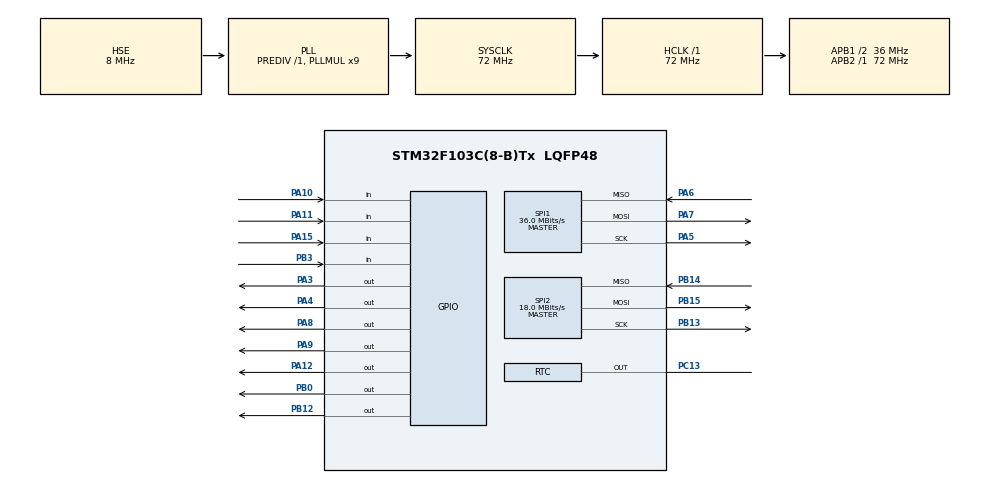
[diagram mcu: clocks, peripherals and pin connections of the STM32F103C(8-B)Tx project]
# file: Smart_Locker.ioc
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Mcu.Family=STM32F1
Mcu.Name=STM32F103C(8-B)Tx
Mcu.Package=LQFP48
NVIC.PriorityGroup=NVIC_PRIORITYGROUP_4
PA10.Signal=GPIO_Input
PA11.Signal=GPIO_Input
PA12.Signal=GPIO_Output
PA13.Mode=Serial_Wire
PA13.Signal=SYS_JTMS-SWDIO
PA14.Mode=Serial_Wire
PA14.Signal=SYS_JTCK-SWCLK
PA15.Signal=GPIO_Input
PA3.Signal=GPIO_Output
PA4.Signal=GPIO_Output
PA5.Mode=Full_Duplex_Master
PA5.Signal=SPI1_SCK
PA6.Mode=Full_Duplex_Master
PA6.Signal=SPI1_MISO
PA7.Mode=Full_Duplex_Master
PA7.Signal=SPI1_MOSI
PA8.Signal=GPIO_Output
PA9.Signal=GPIO_Output
PB0.Signal=GPIO_Output
PB12.Signal=GPIO_Output
PB13.Mode=Full_Duplex_Master
PB13.Signal=SPI2_SCK
PB14.Mode=Full_Duplex_Master
PB14.Signal=SPI2_MISO
PB15.Mode=Full_Duplex_Master
PB15.Signal=SPI2_MOSI
PB3.Signal=GPIO_Input
PC13-TAMPER-RTC.Mode=RTC OUT
PC13-TAMPER-RTC.Signal=RTC_OUT
PC14-OSC32_IN.Mode=LSE-External-Oscillator
PC14-OSC32_IN.Signal=RCC_OSC32_IN
PC15-OSC32_OUT.Mode=LSE-External-Oscillator
PC15-OSC32_OUT.Signal=RCC_OSC32_OUT
PD0-OSC_IN.Mode=HSE-External-Oscillator
PD0-OSC_IN.Signal=RCC_OSC_IN
PD1-OSC_OUT.Mode=HSE-External-Oscillator
PD1-OSC_OUT.Signal=RCC_OSC_OUT
ProjectManager.HeapSize=0x200
ProjectManager.StackSize=0x400
ProjectManager.TargetToolchain=MDK-ARM V5
RCC.AHBFreq_Value=72000000
RCC.APB1CLKDivider=RCC_HCLK_DIV2
RCC.APB1Freq_Value=36000000
RCC.APB1TimFreq_Value=72000000
RCC.APB2Freq_Value=72000000
RCC.APB2TimFreq_Value=72000000
RCC.HCLKFreq_Value=72000000
RCC.PLLMUL=RCC_PLL_MUL9
RCC.PLLSourceVirtual=RCC_PLLSOURCE_HSE
RCC.SYSCLKFreq_VALUE=72000000
RCC.SYSCLKSource=RCC_SYSCLKSOURCE_PLLCLK
RCC.USBFreq_Value=72000000
RTC.Date=13
RTC.Hours=8
RTC.Minutes=30
RTC.Month=RTC_MONTH_AUGUST
RTC.Year=26
SPI1.BaudRatePrescaler=SPI_BAUDRATEPRESCALER_2
SPI1.CalculateBaudRate=36.0 MBits/s
SPI1.Direction=SPI_DIRECTION_2LINES
SPI1.Mode=SPI_MODE_MASTER
SPI1.VirtualType=VM_MASTER
SPI2.BaudRatePrescaler=SPI_BAUDRATEPRESCALER_2
SPI2.CalculateBaudRate=18.0 MBits/s
SPI2.Direction=SPI_DIRECTION_2LINES
SPI2.Mode=SPI_MODE_MASTER
SPI2.VirtualType=VM_MASTER
VP_RTC_VS_RTC_Activate.Mode=RTC_Enabled
VP_RTC_VS_RTC_Calendar.Mode=RTC_Calendar
board=custom

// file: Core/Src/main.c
/* USER CODE BEGIN Header */
/**
  ******************************************************************************
  * @file           : main.c
  * @brief          : Main program body
  ******************************************************************************
  * @attention
  *
  * Copyright (c) 2026 STMicroelectronics.
  * All rights reserved.
  *
  * This software is licensed under terms that can be found in the LICENSE file
  * in the root directory of this software component.
  * If no LICENSE file comes with this software, it is provided AS-IS.
  *
  ******************************************************************************
  */
/* USER CODE END Header */
#include "main.h"

/* USER CODE BEGIN Includes */
#include "st7789.h"
#include "rc522.h"
#include "string.h"
#include "stdio.h"
/* USER CODE END Includes */

/* USER CODE BEGIN PTD */
typedef struct
{
	uint8_t uid[4];
	char name[30];
	char ID[10];
}Card;

Card list_user[] = {
	{{0x1A,0x01,0x02,0x02}, "Nguyen Minh", "NV01" }, {{0x07,0xF6,0x29,0x07}, "Nguyen Hoc", "NV02"}
};
/* USER CODE END PTD */

/* USER CODE BEGIN PD */
#define ST7789_RST_PORT 		GPIOB
#define ST7789_RST_PIN  		GPIO_PIN_1
#define ST7789_DC_PORT  		GPIOB
#define ST7789_DC_PIN   		GPIO_PIN_0

#define ST7789_CS_PORT  		GPIOA
#define ST7789_CS_PIN   		GPIO_PIN_4
#define FONT_MENU						Font_16x26
#define LETTER_MENU					YELLOW
#define BACKGROUND_MENU			BLACK
#define FORMAT_RTC					RTC_FORMAT_BIN
#define FONT_RTC						Font_11x18
#define LINE_COLOR					WHITE
#define BUTTON_UP_PORT			GPIOA
#define BUTTON_UP_PIN				GPIO_PIN_11
#define BUTTON_DOWN_PORT		GPIOA
#define BUTTON_DOWN_PIN			GPIO_PIN_10
#define BUTTON_SELECT_PORT	GPIOA
#define BUTTON_SELECT_PIN		GPIO_PIN_15
#define SELECT_COLOR				GREEN
#define LED_PORT						GPIOA
#define LED_PIN							GPIO_PIN_12
#define BUTTON_BACK_PORT		GPIOB
#define BUTTON_BACK_PIN			GPIO_PIN_3

/* USER CODE END PD */

RTC_HandleTypeDef hrtc;

SPI_HandleTypeDef hspi1;
SPI_HandleTypeDef hspi2;

/* USER CODE BEGIN PV */
uint8_t uid[4];
uint8_t card = 0;
uint8_t select_closet = 0;
uint8_t in_main_case = 1;
uint8_t in_waiting_case = 0;
uint8_t in_confirm_case = 0;
uint8_t in_locker_case = 0;
uint8_t in_return_case = 0;
uint8_t select_confirm = 0;
uint8_t select_choose = 0;
uint8_t select_yn     = 0;
/* USER CODE END PV */

void SystemClock_Config(void);
static void MX_GPIO_Init(void);
static void MX_RTC_Init(void);
static void MX_SPI1_Init(void);
static void MX_SPI2_Init(void);

/* USER CODE BEGIN 0 */
uint8_t Button_Up()
{
	return HAL_GPIO_ReadPin(BUTTON_UP_PORT, BUTTON_UP_PIN) == GPIO_PIN_RESET;
}
uint8_t Button_Down()
{
	return HAL_GPIO_ReadPin(BUTTON_DOWN_PORT, BUTTON_DOWN_PIN) == GPIO_PIN_RESET;
}
uint8_t Button_Select()
{
	return HAL_GPIO_ReadPin(BUTTON_SELECT_PORT, BUTTON_SELECT_PIN) == GPIO_PIN_RESET;
}
uint8_t Button_Back()
{
	return HAL_GPIO_ReadPin(BUTTON_BACK_PORT, BUTTON_BACK_PIN) == GPIO_PIN_RESET;
}
void Led_On_Off(uint8_t state)
{
	if(state)
	{
		HAL_GPIO_WritePin(LED_PORT, LED_PIN, GPIO_PIN_RESET);
	}
	else
	{
		HAL_GPIO_WritePin(LED_PORT, LED_PIN, GPIO_PIN_SET);
	}
}

void Select_Closet()
{
	if(select_closet == 0)
	{
		ST7789_WriteString(10, 70, "[1]", FONT_RTC, SELECT_COLOR, BACKGROUND_MENU);
		ST7789_WriteString(10, 90, "Empty", FONT_RTC, SELECT_COLOR, BACKGROUND_MENU);
	}
	else if(select_closet == 1)
	{
		ST7789_WriteString(120, 70, "[2]", FONT_RTC, SELECT_COLOR, BACKGROUND_MENU);
		ST7789_WriteString(120, 90, "Empty", FONT_RTC, SELECT_COLOR, BACKGROUND_MENU);
	}
	else if(select_closet == 2)
	{
		ST7789_WriteString(230, 70, "[3]", FONT_RTC, SELECT_COLOR, BACKGROUND_MENU);
		ST7789_WriteString(230, 90, "Empty", FONT_RTC, SELECT_COLOR, BACKGROUND_MENU);
	}
	else if(select_closet == 3)
	{
		ST7789_WriteString(10, 120, "[4]", FONT_RTC, SELECT_COLOR, BACKGROUND_MENU);
		ST7789_WriteString(10, 140, "Empty", FONT_RTC, SELECT_COLOR, BACKGROUND_MENU);
	}
	else if(select_closet == 4)
	{
		ST7789_WriteString(120, 120, "[5]", FONT_RTC, SELECT_COLOR, BACKGROUND_MENU);
		ST7789_WriteString(120, 140, "Used", FONT_RTC, SELECT_COLOR, BACKGROUND_MENU);
	}
	else
	{
		ST7789_WriteString(230, 120, "[6]", FONT_RTC, SELECT_COLOR, BACKGROUND_MENU);
		ST7789_WriteString(230, 140, "Empty", FONT_RTC, SELECT_COLOR, BACKGROUND_MENU);
	}
}
void Deselect_Closet(uint8_t choose_closet)
{
	switch(choose_closet)
	{
		case 1:
			ST7789_WriteString(10, 70, "[1]", FONT_RTC, LETTER_MENU, BACKGROUND_MENU);
			ST7789_WriteString(10, 90, "Empty", FONT_RTC, LETTER_MENU, BACKGROUND_MENU);
			break;
		case 2:
			ST7789_WriteString(120, 70, "[2]", FONT_RTC, LETTER_MENU, BACKGROUND_MENU);
			ST7789_WriteString(120, 90, "Empty", FONT_RTC, LETTER_MENU, BACKGROUND_MENU);
			break;
		case 3:
			ST7789_WriteString(230, 70, "[3]", FONT_RTC, LETTER_MENU, BACKGROUND_MENU);
			ST7789_WriteString(230, 90, "Empty", FONT_RTC, LETTER_MENU, BACKGROUND_MENU);
			break;
		case 4:
			ST7789_WriteString(10, 120, "[4]", FONT_RTC, LETTER_MENU, BACKGROUND_MENU);
			ST7789_WriteString(10, 140, "Empty", FONT_RTC, LETTER_MENU, BACKGROUND_MENU);
			break;
		case 5:
			ST7789_WriteString(120, 120, "[5]", FONT_RTC, LETTER_MENU, BACKGROUND_MENU);
			ST7789_WriteString(120, 140, "Used", FONT_RTC, LETTER_MENU, BACKGROUND_MENU);
			break;
		case 6:
			ST7789_WriteString(230, 120, "[6]", FONT_RTC, LETTER_MENU, BACKGROUND_MENU);
			ST7789_WriteString(230, 140, "Empty", FONT_RTC, LETTER_MENU, BACKGROUND_MENU);
			break;
	}
}
void Move_To_Confirm()
{
	if(Button_Down())
	{
		Deselect_Closet(select_closet + 1);
		if(select_closet < 5)
		{
			select_closet++;
		}
		Select_Closet();
		HAL_Delay(100);
	}
	if(Button_Up())
	{
		Deselect_Closet(select_closet + 1);
		if(select_closet > 0)
		{
			select_closet--;
		}
		Select_Closet();
		HAL_Delay(100);
	}
}

int8_t Find_Uid(uint8_t *uid)
{
	for(int i = 0; i < 2; i++)
	{
		if(list_user[i].uid[0] == uid[0] && list_user[i].uid[1] == uid[1] && list_user[i].uid[2] == uid[2] && list_user[i].uid[3] == uid[3])
		{
			return i;
		}
	}
	return -1;
}

uint8_t Read_Card()
{
	if(MFRC522_Request(PICC_REQIDL, uid) == MI_OK)
	{
		if(MFRC522_Anticoll(uid) == MI_OK)
		{
			return 1;
		}
	}
	return 0;
}

void Start_Menu_Page()
{
	ST7789_WriteString(60, 10, "SMART LOCKER", FONT_MENU, LETTER_MENU, BACKGROUND_MENU);
	ST7789_WriteString(40, 60, "RFID LOCK SYSTEM", FONT_MENU, LETTER_MENU, BACKGROUND_MENU);
	ST7789_WriteString(60, 110, "SYSTEM READY", FONT_MENU, LETTER_MENU, BACKGROUND_MENU);
	HAL_Delay(2000);
	ST7789_Fill_Color(BLACK);
	in_main_case = 1;
	in_waiting_case = 0;
	in_confirm_case = 0;
}
void Main_Menu_Page()
{
	ST7789_WriteString(60, 10, "SMART LOCKER", FONT_MENU, LETTER_MENU, BACKGROUND_MENU);
	RTC_TimeTypeDef time;
	RTC_DateTypeDef date;

	char time_save[15];
	char date_save[15];

	HAL_RTC_GetTime(&hrtc, &time, FORMAT_RTC);
	HAL_RTC_GetDate(&hrtc, &date, FORMAT_RTC);

	sprintf(time_save, "%02d:%02d:%02d", time.Hours, time.Minutes, time.Seconds);
	sprintf(date_save, "%02d/%02d/20%02d", date.Date, date.Month, date.Year);

	ST7789_WriteString(10, 35, time_save, FONT_RTC, LETTER_MENU, BACKGROUND_MENU);
	ST7789_WriteString(200, 35, date_save, FONT_RTC, LETTER_MENU, BACKGROUND_MENU);

	ST7789_DrawLine(10, 60, 300, 60, LINE_COLOR);

	ST7789_WriteString(10, 70, "[1]", FONT_RTC, LETTER_MENU, BACKGROUND_MENU);
	ST7789_WriteString(10, 90, "Empty", FONT_RTC, LETTER_MENU, BACKGROUND_MENU);

	ST7789_WriteString(120, 70, "[2]", FONT_RTC, LETTER_MENU, BACKGROUND_MENU);
	ST7789_WriteString(120, 90, "Empty", FONT_RTC, LETTER_MENU, BACKGROUND_MENU);

	ST7789_WriteString(230, 70, "[3]", FONT_RTC, LETTER_MENU, BACKGROUND_MENU);
	ST7789_WriteString(230, 90, "Empty", FONT_RTC, LETTER_MENU, BACKGROUND_MENU);

	ST7789_WriteString(10, 120, "[4]", FONT_RTC, LETTER_MENU, BACKGROUND_MENU);
	ST7789_WriteString(10, 140, "Empty", FONT_RTC, LETTER_MENU, BACKGROUND_MENU);

	ST7789_WriteString(120, 120, "[5]", FONT_RTC, LETTER_MENU, BACKGROUND_MENU);
	ST7789_WriteString(120, 140, "Used", FONT_RTC, LETTER_MENU, BACKGROUND_MENU);

	ST7789_WriteString(230, 120, "[6]", FONT_RTC, LETTER_MENU, BACKGROUND_MENU);
	ST7789_WriteString(230, 140, "Empty", FONT_RTC, LETTER_MENU, BACKGROUND_MENU);
}

void Closet_Confirm(uint8_t locker_ps, uint8_t card)
{
	char name_save[20];
	char locker_save[10];

	sprintf(name_save, "%s", list_user[card].name);
	sprintf(locker_save, "LOCKER:%02d", locker_ps);

	ST7789_WriteString(30, 10, locker_save, FONT_MENU, LETTER_MENU, BACKGROUND_MENU);
	ST7789_DrawLine(10, 30, 300, 30, LINE_COLOR);
	ST7789_WriteString(10, 40, "Status: Empty", FONT_RTC, LETTER_MENU, BACKGROUND_MENU);
	ST7789_WriteString(10, 60, "Name: ", FONT_RTC, LETTER_MENU, BACKGROUND_MENU);
	ST7789_WriteString(10, 80, name_save, FONT_RTC, LETTER_MENU, BACKGROUND_MENU);
	ST7789_WriteString(100, 100, "Confirm ?", FONT_RTC, LETTER_MENU, BACKGROUND_MENU);
	ST7789_WriteString(20, 125, "[ YES ]", FONT_RTC, LETTER_MENU, BACKGROUND_MENU);
	ST7789_WriteString(220, 125, "[ NO ]", FONT_RTC, LETTER_MENU, BACKGROUND_MENU);
}
void Select_Yes_Or_No(void)
{
	if(select_confirm == 0)
	{
		ST7789_WriteString(20, 125, "[ YES ]", FONT_RTC, SELECT_COLOR, BACKGROUND_MENU);
	}
	else
	{
		ST7789_WriteString(220, 125, "[ NO ]", FONT_RTC, SELECT_COLOR, BACKGROUND_MENU);
	}
}
void Deselect_Yes_No(uint8_t confirm)
{
	switch(confirm)
	{
		case 1:
			ST7789_WriteString(20, 125, "[ YES ]", FONT_RTC, LETTER_MENU, BACKGROUND_MENU);
			break;
		case 2:
			ST7789_WriteString(220, 125, "[ NO ]", FONT_RTC, LETTER_MENU, BACKGROUND_MENU);
			break;
	}
}

void Move_Yes_Or_No(void)
{
	if(Button_Down())
	{
		Deselect_Yes_No(select_confirm + 1);
		if(select_confirm < 1)
		{
			select_confirm++;
		}
		Select_Yes_Or_No();
	}

	if(Button_Up())
	{
		Deselect_Yes_No(select_confirm + 1);
		if(select_confirm > 0)
		{
			select_confirm--;
		}
		Select_Yes_Or_No();
	}
}
void Opening_Closet_Page(uint8_t locker, uint8_t t)
{
	ST7789_Fill_Color(BLACK);
	char locker_save[10];
	sprintf(locker_save, "LOCKER:%02d", locker);

	ST7789_WriteString(30, 10, locker_save, FONT_MENU, LETTER_MENU, BACKGROUND_MENU);

	ST7789_DrawLine(10, 30, 300, 30, LINE_COLOR);

	ST7789_WriteString(30, 60, "ACCESS GRANTED", FONT_MENU, LETTER_MENU, BACKGROUND_MENU);
	ST7789_WriteString(30, 100, "OPENING....", FONT_MENU, LETTER_MENU, BACKGROUND_MENU);
	ST7789_WriteString(30, 150, "PLEASE WAIT", FONT_MENU, LETTER_MENU, BACKGROUND_MENU);

	HAL_Delay(2000);
	ST7789_Fill_Color(BLACK);

	ST7789_WriteString(40, 10, "USER LOCKER", FONT_MENU, LETTER_MENU, BACKGROUND_MENU);

	char name_save[20];

	sprintf(name_save, "Name:%s", list_user[t].name);
	ST7789_WriteString(20, 40, name_save, FONT_RTC, LETTER_MENU, BACKGROUND_MENU);
	ST7789_WriteString(20, 60, locker_save, FONT_RTC, LETTER_MENU, BACKGROUND_MENU);
	ST7789_WriteString(20, 80, "Status: Closed", FONT_RTC, LETTER_MENU, BACKGROUND_MENU);
	ST7789_WriteString(20, 100, " [OPEN LOCKER]", FONT_MENU, LETTER_MENU, BACKGROUND_MENU);
	ST7789_WriteString(20, 130, "[RETURN LOCKER]", FONT_MENU, LETTER_MENU, BACKGROUND_MENU);
}
void Opening_Locker_On_Led()
{
	Led_On_Off(1);
	ST7789_Fill_Color(BLACK);
	HAL_Delay(3000);
	in_main_case = 1;
	in_waiting_case = 0;
	in_locker_case = 0;
}
void Return_Locker(uint8_t locker, uint8_t t)
{
	ST7789_Fill_Color(BLACK);
	ST7789_WriteString(40, 10, "RETURN LOCKER", FONT_MENU, LETTER_MENU, BACKGROUND_MENU);

	char locker_save[10];
	sprintf(locker_save, "LOCKER:%02d", locker);

	char name_save[20];
	sprintf(name_save, "Name:%s", list_user[t].name);
	ST7789_WriteString(20, 60, name_save, FONT_RTC, LETTER_MENU, BACKGROUND_MENU);
	ST7789_WriteString(20, 40, locker_save, FONT_RTC, LETTER_MENU, BACKGROUND_MENU);

	ST7789_WriteString(20, 100, "ARE YOU SURE ?", FONT_RTC, LETTER_MENU, BACKGROUND_MENU);
	ST7789_WriteString(20, 125, "[ YES ]", FONT_RTC, LETTER_MENU, BACKGROUND_MENU);
	ST7789_WriteString(220, 125, "[ NO ]", FONT_RTC, LETTER_MENU, BACKGROUND_MENU);
}

void Select_Open_Or_Return(void)
{
	if(select_choose == 0)
	{
		ST7789_WriteString(20, 100, " [OPEN LOCKER]", FONT_MENU, SELECT_COLOR, BACKGROUND_MENU);
	}
	else
	{
		ST7789_WriteString(20, 130, "[RETURN LOCKER]", FONT_MENU, SELECT_COLOR, BACKGROUND_MENU);
	}
}
void Deselect_Open_Return(uint8_t confirm)
{
	switch(confirm)
	{
		case 1:
			ST7789_WriteString(20, 100, " [OPEN LOCKER]", FONT_MENU, LETTER_MENU, BACKGROUND_MENU);
			break;
		case 2:
			ST7789_WriteString(20, 130, "[RETURN LOCKER]", FONT_MENU, LETTER_MENU, BACKGROUND_MENU);
			break;
	}
}
void Move_Open_Or_Return(void)
{
	if(Button_Down())
	{
		Deselect_Open_Return(select_choose + 1);
		if(select_choose < 1)
		{
			select_choose++;
		}
		Select_Open_Or_Return();
	}

	if(Button_Up())
	{
		Deselect_Open_Return(select_choose + 1);
		if(select_choose > 0)
		{
			select_choose--;
		}
		Select_Open_Or_Return();
	}
}

void Confirm_Yes_No()
{
	if(Button_Select())
	{
		switch(select_confirm)
		{
			case 0:
				ST7789_Fill_Color(BLACK);
				Opening_Closet_Page(select_closet + 1, card);
				in_main_case = 0;
				in_waiting_case = 0;
				in_confirm_case = 0;
				in_locker_case = 1;
				break;
			case 1:
				ST7789_Fill_Color(BLACK);
				Main_Menu_Page();
				in_main_case = 1;
				in_waiting_case = 0;
				in_confirm_case = 0;
				break;
		}
	}
}

void Check_Card()
{
	if(Read_Card())
	{
		int8_t card_check = Find_Uid(uid);
		if(card_check != -1)
		{
			card = card_check;
			in_waiting_case = 0;
			in_confirm_case = 1;
			ST7789_Fill_Color(BLACK);
			Closet_Confirm(select_closet + 1, card_check);
		}
		else
		{

		}
	}
}

void Select_Yes_Or_No_Return(void)
{
	if(select_yn == 0)
	{
		ST7789_WriteString(20, 125, "[ YES ]", FONT_RTC, SELECT_COLOR, BACKGROUND_MENU);
	}
	else
	{
		ST7789_WriteString(220, 125, "[ NO ]", FONT_RTC, SELECT_COLOR, BACKGROUND_MENU);
	}
}
void Deselect_Yes_No_Return(uint8_t confirm)
{
	switch(confirm)
	{
		case 1:
			ST7789_WriteString(20, 125, "[ YES ]", FONT_RTC, LETTER_MENU, BACKGROUND_MENU);
			break;
		case 2:
			ST7789_WriteString(220, 125, "[ NO ]", FONT_RTC, LETTER_MENU, BACKGROUND_MENU);
			break;
	}
}

void Move_Yes_Or_No_Return(void)
{
	if(Button_Down())
	{
		Deselect_Yes_No_Return(select_yn + 1);
		if(select_yn < 1)
		{
			select_yn++;
		}
		Select_Yes_Or_No_Return();
	}

	if(Button_Up())
	{
		Deselect_Yes_No_Return(select_yn + 1);
		if(select_yn > 0)
		{
			select_yn--;
		}
		Select_Yes_Or_No_Return();
	}
}

void Return_Locker_Done(uint8_t locker)
{
	ST7789_Fill_Color(BLACK);

	char locker_save[20];
	sprintf(locker_save, "Locker:%02d", locker);

	ST7789_WriteString(20, 20, locker_save, FONT_MENU, LETTER_MENU, BACKGROUND_MENU);
	ST7789_WriteString(20, 70, "RELEASE SUCCESS", FONT_MENU, LETTER_MENU, BACKGROUND_MENU);
	ST7789_WriteString(20, 140, "Locker is EMPTY now", FONT_MENU, LETTER_MENU, BACKGROUND_MENU);
	HAL_Delay(2000);
	ST7789_Fill_Color(BLACK);
	in_main_case = 1;
	in_waiting_case = 0;
	in_confirm_case = 0;
}

void Confirm_Yes_No_Return()
{
	if(Button_Select())
	{
		switch(select_yn)
		{
			case 0:
				ST7789_Fill_Color(BLACK);
				Return_Locker_Done(select_closet + 1);
				in_locker_case = 0;
				in_return_case = 0;
				break;
			case 1:
				ST7789_Fill_Color(BLACK);
				Opening_Closet_Page(select_closet + 1, card);
				select_choose = 0;
				Select_Open_Or_Return();
				in_main_case = 0;
				in_locker_case = 1;
				in_return_case = 0;
				break;
		}
	}
}

void Confirm_Open_Return()
{
	if(Button_Select())
	{
		switch(select_choose)
		{
			case 0:
				ST7789_Fill_Color(BLACK);
				Opening_Locker_On_Led();
				break;
			case 1:
				ST7789_Fill_Color(BLACK);
				Return_Locker(select_closet + 1, card);
				select_yn = 0;
				Select_Yes_Or_No_Return();
				in_locker_case = 0;
				in_return_case = 1;
				break;
		}
	}
}

void Check_Card_Page(void)
{
	ST7789_Fill_Color(BLACK);
	ST7789_WriteString(20, 20, "RFID SCANNING", FONT_MENU, LETTER_MENU, BACKGROUND_MENU);
	ST7789_WriteString(140, 60, "[RFID]", FONT_MENU, LETTER_MENU, BACKGROUND_MENU);
	ST7789_WriteString(20, 100, "PLEASE SCAN CARD", FONT_MENU, LETTER_MENU, BACKGROUND_MENU);
	ST7789_WriteString(50, 140, "WAITING....", FONT_MENU, LETTER_MENU, BACKGROUND_MENU);
}
void Used_Close_Page(void)
{
	ST7789_Fill_Color(BLACK);
	ST7789_WriteString(30, 10, "ACCESS DENIED", FONT_MENU, LETTER_MENU, BACKGROUND_MENU);
	ST7789_DrawLine(10, 40, 300, 30, LINE_COLOR);
	ST7789_WriteString(10, 60, "Locker: 05", FONT_RTC, LETTER_MENU, BACKGROUND_MENU);
	ST7789_WriteString(10, 90, "Owner: ", FONT_RTC, LETTER_MENU, BACKGROUND_MENU);
	ST7789_WriteString(10, 120, "Nguyen Nguyen", FONT_RTC, LETTER_MENU, BACKGROUND_MENU);
	ST7789_WriteString(10, 150, "---Back Home Menu---", FONT_RTC, LETTER_MENU, BACKGROUND_MENU);
	HAL_Delay(2000);
	ST7789_Fill_Color(BLACK);
	in_main_case = 1;
	in_waiting_case = 0;
}
void First_Closet(void)
{
	Check_Card_Page();
}
void Second_Closet(void)
{
	Check_Card_Page();
}
void Third_Closet(void)
{
	Check_Card_Page();
}
void Fourth_Closet(void)
{
	Check_Card_Page();
}
void Fifth_Closet(void)
{
	Used_Close_Page();
}
void Sixth_Closet(void)
{
	Check_Card_Page();
}
void Confirm_Locker()
{
	if(Button_Select())
	{
		HAL_Delay(100);
		switch(select_closet)
		{
			case 0:
				in_main_case = 0;
				in_waiting_case = 1;
				in_confirm_case = 0;
				in_locker_case = 0;
				First_Closet();
				break;
			case 1:
				in_main_case = 0;
				in_waiting_case = 1;
				in_confirm_case = 0;
				in_locker_case = 0;
				Second_Closet();
				break;
			case 2:
				in_main_case = 0;
				in_waiting_case = 1;
				in_confirm_case = 0;
				in_locker_case = 0;
				Third_Closet();
				break;
			case 3:
				in_main_case = 0;
				in_waiting_case = 1;
				in_confirm_case = 0;
				in_locker_case = 0;
				Fourth_Closet();
				break;
			case 4:
				in_main_case = 0;
				in_waiting_case = 1;
				in_confirm_case = 0;
				in_locker_case = 0;
				Fifth_Closet();
				break;
			case 5:
				in_main_case = 0;
				in_waiting_case = 1;
				in_confirm_case = 0;
				in_locker_case = 0;
				Sixth_Closet();
				break;
		}
	}
}
void Back_Home()
{
	if(Button_Back())
	{
		ST7789_Fill_Color(BLACK);
		Main_Menu_Page();

		in_main_case = 1;
		in_waiting_case = 0;
		in_confirm_case = 0;
		in_locker_case = 0;
		in_return_case = 0;

		select_confirm = 0;
		select_choose = 0;
		select_yn = 0;
	}
}

/* USER CODE END 0 */

int main(void)
{

  /* MCU Configuration--------------------------------------------------------*/

  /* Reset of all peripherals, Initializes the Flash interface and the Systick. */
  HAL_Init();

  /* Configure the system clock */
  SystemClock_Config();

  /* Initialize all configured peripherals */
  MX_GPIO_Init();
  MX_RTC_Init();
  MX_SPI1_Init();
  MX_SPI2_Init();
  /* USER CODE BEGIN 2 */
	ST7789_Fill_Color(BLACK);
	ST7789_Init();
	MFRC522_Init();
	Start_Menu_Page();

  /* USER CODE END 2 */

  /* Infinite loop */
  /* USER CODE BEGIN WHILE */
  while (1)
  {
		if(in_main_case)
		{
			Move_To_Confirm();
			Select_Closet();
			Main_Menu_Page();
			Confirm_Locker();
		}
		else if(in_waiting_case)
		{
			Check_Card();
		}
		else if(in_confirm_case)
		{
			Move_Yes_Or_No();
			Select_Yes_Or_No();
			Confirm_Yes_No();
			Back_Home();
		}
		else if(in_locker_case)
		{
			Move_Open_Or_Return();
			Select_Open_Or_Return();
			Confirm_Open_Return();
			Back_Home();
		}
		else if(in_return_case)
		{
			Move_Yes_Or_No_Return();
			Select_Yes_Or_No_Return();
			Confirm_Yes_No_Return();
			Back_Home();
		}
    /* USER CODE END WHILE */

  }
}

void SystemClock_Config(void)
{
  RCC_OscInitTypeDef RCC_OscInitStruct = {0};
  RCC_ClkInitTypeDef RCC_ClkInitStruct = {0};
  RCC_PeriphCLKInitTypeDef PeriphClkInit = {0};

  /** Initializes the RCC Oscillators according to the specified parameters
  * in the RCC_OscInitTypeDef structure.
  */
  RCC_OscInitStruct.OscillatorType = RCC_OSCILLATORTYPE_LSI|RCC_OSCILLATORTYPE_HSE;
  RCC_OscInitStruct.HSEState = RCC_HSE_ON;
  RCC_OscInitStruct.HSEPredivValue = RCC_HSE_PREDIV_DIV1;
  RCC_OscInitStruct.HSIState = RCC_HSI_ON;
  RCC_OscInitStruct.LSIState = RCC_LSI_ON;
  RCC_OscInitStruct.PLL.PLLState = RCC_PLL_ON;
  RCC_OscInitStruct.PLL.PLLSource = RCC_PLLSOURCE_HSE;
  RCC_OscInitStruct.PLL.PLLMUL = RCC_PLL_MUL9;
  if (HAL_RCC_OscConfig(&RCC_OscInitStruct) != HAL_OK)
  {
    Error_Handler();
  }

  /** Initializes the CPU, AHB and APB buses clocks
  */
  RCC_ClkInitStruct.ClockType = RCC_CLOCKTYPE_HCLK|RCC_CLOCKTYPE_SYSCLK
                              |RCC_CLOCKTYPE_PCLK1|RCC_CLOCKTYPE_PCLK2;
  RCC_ClkInitStruct.SYSCLKSource = RCC_SYSCLKSOURCE_PLLCLK;
  RCC_ClkInitStruct.AHBCLKDivider = RCC_SYSCLK_DIV1;
  RCC_ClkInitStruct.APB1CLKDivider = RCC_HCLK_DIV2;
  RCC_ClkInitStruct.APB2CLKDivider = RCC_HCLK_DIV1;

  if (HAL_RCC_ClockConfig(&RCC_ClkInitStruct, FLASH_LATENCY_2) != HAL_OK)
  {
    Error_Handler();
  }
  PeriphClkInit.PeriphClockSelection = RCC_PERIPHCLK_RTC;
  PeriphClkInit.RTCClockSelection = RCC_RTCCLKSOURCE_LSI;
  if (HAL_RCCEx_PeriphCLKConfig(&PeriphClkInit) != HAL_OK)
  {
    Error_Handler();
  }
}

static void MX_RTC_Init(void)
{

  RTC_TimeTypeDef sTime = {0};
  RTC_DateTypeDef DateToUpdate = {0};
  RTC_AlarmTypeDef sAlarm = {0};

  /** Initialize RTC Only
  */
  hrtc.Instance = RTC;
  hrtc.Init.AsynchPrediv = RTC_AUTO_1_SECOND;
  hrtc.Init.OutPut = RTC_OUTPUTSOURCE_ALARM;
  if (HAL_RTC_Init(&hrtc) != HAL_OK)
  {
    Error_Handler();
  }

  /** Initialize RTC and set the Time and Date
  */
  sTime.Hours = 0x8;
  sTime.Minutes = 0x30;
  sTime.Seconds = 0x0;

  if (HAL_RTC_SetTime(&hrtc, &sTime, RTC_FORMAT_BCD) != HAL_OK)
  {
    Error_Handler();
  }
  DateToUpdate.WeekDay = RTC_WEEKDAY_MONDAY;
  DateToUpdate.Month = RTC_MONTH_AUGUST;
  DateToUpdate.Date = 0x13;
  DateToUpdate.Year = 0x26;

  if (HAL_RTC_SetDate(&hrtc, &DateToUpdate, RTC_FORMAT_BCD) != HAL_OK)
  {
    Error_Handler();
  }

  /** Enable the Alarm A
  */
  sAlarm.AlarmTime.Hours = 0x0;
  sAlarm.AlarmTime.Minutes = 0x0;
  sAlarm.AlarmTime.Seconds = 0x0;
  sAlarm.Alarm = RTC_ALARM_A;
  if (HAL_RTC_SetAlarm(&hrtc, &sAlarm, RTC_FORMAT_BCD) != HAL_OK)
  {
    Error_Handler();
  }

}

static void MX_SPI1_Init(void)
{

  /* SPI1 parameter configuration*/
  hspi1.Instance = SPI1;
  hspi1.Init.Mode = SPI_MODE_MASTER;
  hspi1.Init.Direction = SPI_DIRECTION_2LINES;
  hspi1.Init.DataSize = SPI_DATASIZE_8BIT;
  hspi1.Init.CLKPolarity = SPI_POLARITY_LOW;
  hspi1.Init.CLKPhase = SPI_PHASE_1EDGE;
  hspi1.Init.NSS = SPI_NSS_SOFT;
  hspi1.Init.BaudRatePrescaler = SPI_BAUDRATEPRESCALER_2;
  hspi1.Init.FirstBit = SPI_FIRSTBIT_MSB;
  hspi1.Init.TIMode = SPI_TIMODE_DISABLE;
  hspi1.Init.CRCCalculation = SPI_CRCCALCULATION_DISABLE;
  hspi1.Init.CRCPolynomial = 10;
  if (HAL_SPI_Init(&hspi1) != HAL_OK)
  {
    Error_Handler();
  }

}

static void MX_SPI2_Init(void)
{

  /* SPI2 parameter configuration*/
  hspi2.Instance = SPI2;
  hspi2.Init.Mode = SPI_MODE_MASTER;
  hspi2.Init.Direction = SPI_DIRECTION_2LINES;
  hspi2.Init.DataSize = SPI_DATASIZE_8BIT;
  hspi2.Init.CLKPolarity = SPI_POLARITY_LOW;
  hspi2.Init.CLKPhase = SPI_PHASE_1EDGE;
  hspi2.Init.NSS = SPI_NSS_SOFT;
  hspi2.Init.BaudRatePrescaler = SPI_BAUDRATEPRESCALER_2;
  hspi2.Init.FirstBit = SPI_FIRSTBIT_MSB;
  hspi2.Init.TIMode = SPI_TIMODE_DISABLE;
  hspi2.Init.CRCCalculation = SPI_CRCCALCULATION_DISABLE;
  hspi2.Init.CRCPolynomial = 10;
  if (HAL_SPI_Init(&hspi2) != HAL_OK)
  {
    Error_Handler();
  }

}

static void MX_GPIO_Init(void)
{
  GPIO_InitTypeDef GPIO_InitStruct = {0};

  /* GPIO Ports Clock Enable */
  __HAL_RCC_GPIOC_CLK_ENABLE();
  __HAL_RCC_GPIOD_CLK_ENABLE();
  __HAL_RCC_GPIOA_CLK_ENABLE();
  __HAL_RCC_GPIOB_CLK_ENABLE();

  /*Configure GPIO pin Output Level */
  HAL_GPIO_WritePin(GPIOA, GPIO_PIN_3|GPIO_PIN_4|GPIO_PIN_8|GPIO_PIN_9
                          |GPIO_PIN_12, GPIO_PIN_RESET);

  /*Configure GPIO pin Output Level */
  HAL_GPIO_WritePin(GPIOB, GPIO_PIN_0|GPIO_PIN_12, GPIO_PIN_RESET);

  /*Configure GPIO pins : PA3 PA4 PA8 PA9
                           PA12 */
  GPIO_InitStruct.Pin = GPIO_PIN_3|GPIO_PIN_4|GPIO_PIN_8|GPIO_PIN_9
                          |GPIO_PIN_12;
  GPIO_InitStruct.Mode = GPIO_MODE_OUTPUT_PP;
  GPIO_InitStruct.Pull = GPIO_NOPULL;
  GPIO_InitStruct.Speed = GPIO_SPEED_FREQ_LOW;
  HAL_GPIO_Init(GPIOA, &GPIO_InitStruct);

  /*Configure GPIO pins : PB0 PB12 */
  GPIO_InitStruct.Pin = GPIO_PIN_0|GPIO_PIN_12;
  GPIO_InitStruct.Mode = GPIO_MODE_OUTPUT_PP;
  GPIO_InitStruct.Pull = GPIO_NOPULL;
  GPIO_InitStruct.Speed = GPIO_SPEED_FREQ_LOW;
  HAL_GPIO_Init(GPIOB, &GPIO_InitStruct);

  /*Configure GPIO pins : PA10 PA11 PA15 */
  GPIO_InitStruct.Pin = GPIO_PIN_10|GPIO_PIN_11|GPIO_PIN_15;
  GPIO_InitStruct.Mode = GPIO_MODE_INPUT;
  GPIO_InitStruct.Pull = GPIO_NOPULL;
  HAL_GPIO_Init(GPIOA, &GPIO_InitStruct);

  /*Configure GPIO pin : PB3 */
  GPIO_InitStruct.Pin = GPIO_PIN_3;
  GPIO_InitStruct.Mode = GPIO_MODE_INPUT;
  GPIO_InitStruct.Pull = GPIO_PULLUP;
  HAL_GPIO_Init(GPIOB, &GPIO_InitStruct);

}

void Error_Handler(void)
{
  __disable_irq();
  while (1)
  {
  }
}
